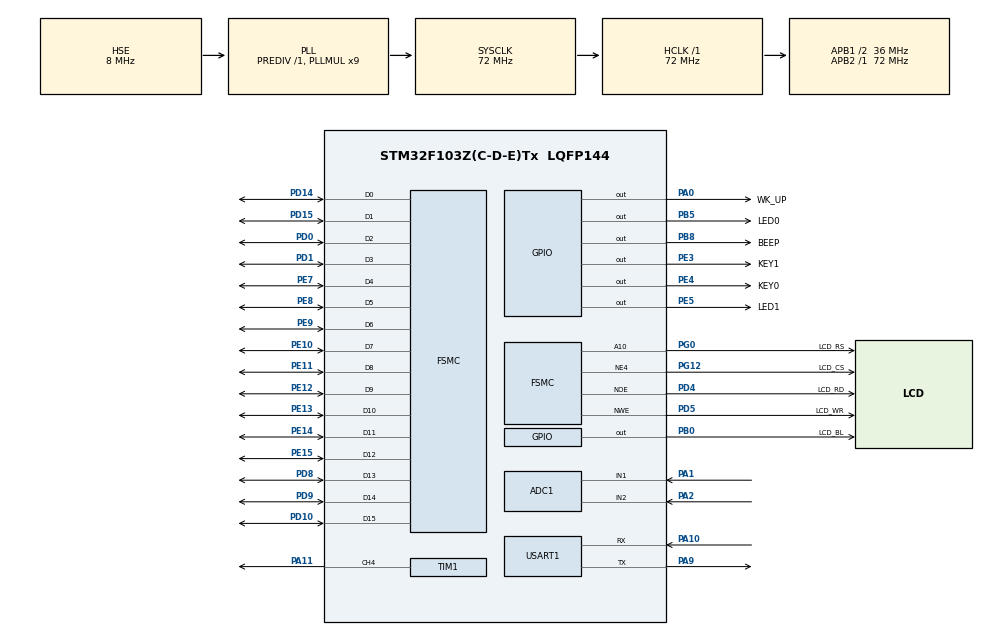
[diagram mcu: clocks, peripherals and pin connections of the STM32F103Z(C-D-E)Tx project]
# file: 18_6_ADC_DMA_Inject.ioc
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ADC1.Channel-0\#ChannelRegularConversion=ADC_CHANNEL_1
ADC1.Channel-1\#ChannelInjectedConversion=ADC_CHANNEL_2
ADC1.ContinuousConvMode=ENABLE
ADC1.EnableInjectedConversion=ENABLE
ADC1.ExternalTrigConv=ADC_SOFTWARE_START
ADC1.ExternalTrigInjecConv=ADC_EXTERNALTRIGINJECCONV_T1_CC4
ADC1.InjNumberOfConversion=1
ADC1.InjectedOffset-1\#ChannelInjectedConversion=0
ADC1.InjectedRank-1\#ChannelInjectedConversion=1
ADC1.NbrOfConversionFlag=1
ADC1.Rank-0\#ChannelRegularConversion=1
ADC1.SamplingTime-0\#ChannelRegularConversion=ADC_SAMPLETIME_239CYCLES_5
ADC1.SamplingTime-1\#ChannelInjectedConversion=ADC_SAMPLETIME_239CYCLES_5
ADC1.master=1
Dma.ADC1.0.Direction=DMA_PERIPH_TO_MEMORY
Dma.ADC1.0.Instance=DMA1_Channel1
Dma.ADC1.0.MemDataAlignment=DMA_MDATAALIGN_HALFWORD
Dma.ADC1.0.MemInc=DMA_MINC_ENABLE
Dma.ADC1.0.Mode=DMA_NORMAL
Dma.ADC1.0.PeriphDataAlignment=DMA_PDATAALIGN_HALFWORD
Dma.ADC1.0.PeriphInc=DMA_PINC_DISABLE
Dma.ADC1.0.Priority=DMA_PRIORITY_MEDIUM
Dma.Request0=ADC1
FSMC.AddressSetupTime1=0
FSMC.BusTurnAroundDuration1=15
FSMC.DataSetupTime1=15
FSMC.ExtendedAddressSetupTime1=0
FSMC.ExtendedDataSetupTime1=1
FSMC.ExtendedMode1=FSMC_EXTENDED_MODE_ENABLE
Mcu.Family=STM32F1
Mcu.Name=STM32F103Z(C-D-E)Tx
Mcu.Package=LQFP144
NVIC.ADC1_2_IRQn=true\:0\:0\:false\:false\:true\:true\:true\:true
NVIC.DMA1_Channel1_IRQn=true\:2\:1\:true\:false\:true\:false\:true\:true
NVIC.PriorityGroup=NVIC_PRIORITYGROUP_2
NVIC.USART1_IRQn=true\:2\:2\:true\:false\:true\:true\:true\:true
OSC_IN.Mode=HSE-External-Oscillator
OSC_IN.Signal=RCC_OSC_IN
OSC_OUT.Mode=HSE-External-Oscillator
OSC_OUT.Signal=RCC_OSC_OUT
PA0-WKUP.GPIO_Label=WK_UP
PA0-WKUP.GPIO_PuPd=GPIO_PULLDOWN
PA0-WKUP.GPIO_Speed=GPIO_SPEED_FREQ_HIGH
PA0-WKUP.PinState=GPIO_PIN_RESET
PA0-WKUP.Signal=GPIO_Output
PA1.Signal=ADCx_IN1
PA10.Mode=Asynchronous
PA10.Signal=USART1_RX
PA11.Signal=S_TIM1_CH4
PA13.Mode=Serial_Wire
PA13.Signal=SYS_JTMS-SWDIO
PA14.Mode=Serial_Wire
PA14.Signal=SYS_JTCK-SWCLK
PA2.Signal=ADCx_IN2
PA9.Mode=Asynchronous
PA9.Signal=USART1_TX
PB0.GPIO_Label=LCD_BL
PB0.GPIO_PuPd=GPIO_PULLUP
PB0.GPIO_Speed=GPIO_SPEED_FREQ_HIGH
PB0.PinState=GPIO_PIN_SET
PB0.Signal=GPIO_Output
PB5.GPIO_Label=LED0
PB5.GPIO_PuPd=GPIO_PULLUP
PB5.GPIO_Speed=GPIO_SPEED_FREQ_HIGH
PB5.PinState=GPIO_PIN_SET
PB5.Signal=GPIO_Output
PB8.GPIO_Label=BEEP
PB8.GPIO_ModeDefaultOutputPP=GPIO_MODE_OUTPUT_PP
PB8.GPIO_PuPd=GPIO_PULLDOWN
PB8.GPIO_Speed=GPIO_SPEED_FREQ_HIGH
PB8.PinState=GPIO_PIN_RESET
PB8.Signal=GPIO_Output
PC14-OSC32_IN.Mode=LSE-External-Oscillator
PC14-OSC32_IN.Signal=RCC_OSC32_IN
PC15-OSC32_OUT.Mode=LSE-External-Oscillator
PC15-OSC32_OUT.Signal=RCC_OSC32_OUT
PD0.Signal=FSMC_D2_DA2
PD1.Signal=FSMC_D3_DA3
PD10.Signal=FSMC_D15_DA15
PD14.Signal=FSMC_D0_DA0
PD15.Signal=FSMC_D1_DA1
PD4.GPIO_Label=LCD_RD
PD4.Signal=FSMC_NOE
PD5.GPIO_Label=LCD_WR
PD5.Signal=FSMC_NWE
PD8.Signal=FSMC_D13_DA13
PD9.Signal=FSMC_D14_DA14
PE10.Signal=FSMC_D7_DA7
PE11.Signal=FSMC_D8_DA8
PE12.Signal=FSMC_D9_DA9
PE13.Signal=FSMC_D10_DA10
PE14.Signal=FSMC_D11_DA11
PE15.Signal=FSMC_D12_DA12
PE3.GPIO_Label=KEY1
PE3.GPIO_PuPd=GPIO_PULLUP
PE3.GPIO_Speed=GPIO_SPEED_FREQ_HIGH
PE3.PinState=GPIO_PIN_SET
PE3.Signal=GPIO_Output
PE4.GPIO_Label=KEY0
PE4.GPIO_PuPd=GPIO_PULLUP
PE4.GPIO_Speed=GPIO_SPEED_FREQ_HIGH
PE4.PinState=GPIO_PIN_SET
PE4.Signal=GPIO_Output
PE5.GPIO_Label=LED1
PE5.GPIO_PuPd=GPIO_PULLUP
PE5.GPIO_Speed=GPIO_SPEED_FREQ_HIGH
PE5.PinState=GPIO_PIN_SET
PE5.Signal=GPIO_Output
PE7.Signal=FSMC_D4_DA4
PE8.Signal=FSMC_D5_DA5
PE9.Signal=FSMC_D6_DA6
PG0.GPIO_Label=LCD_RS
PG0.Signal=FSMC_A10
PG12.GPIO_Label=LCD_CS
PG12.Mode=NorPsramChipSelect4_1
PG12.Signal=FSMC_NE4
ProjectManager.HeapSize=0x200
ProjectManager.StackSize=0x400
ProjectManager.TargetToolchain=STM32CubeIDE
RCC.ADCPresc=RCC_ADCPCLK2_DIV6
RCC.AHBFreq_Value=72000000
RCC.APB1CLKDivider=RCC_HCLK_DIV2
RCC.APB1Freq_Value=36000000
RCC.APB1TimFreq_Value=72000000
RCC.APB2Freq_Value=72000000
RCC.APB2TimFreq_Value=72000000
RCC.HCLKFreq_Value=72000000
RCC.PLLMUL=RCC_PLL_MUL9
RCC.PLLSourceVirtual=RCC_PLLSOURCE_HSE
RCC.SYSCLKFreq_VALUE=72000000
RCC.SYSCLKSource=RCC_SYSCLKSOURCE_PLLCLK
RCC.USBFreq_Value=72000000
SH.ADCx_IN1.0=ADC1_IN1,IN1
SH.ADCx_IN2.0=ADC1_IN2,IN2
SH.FSMC_A10.0=FSMC_A10,A10_1
SH.FSMC_D0_DA0.0=FSMC_D0,16b-d1
SH.FSMC_D10_DA10.0=FSMC_D10,16b-d1
SH.FSMC_D11_DA11.0=FSMC_D11,16b-d1
SH.FSMC_D12_DA12.0=FSMC_D12,16b-d1
SH.FSMC_D13_DA13.0=FSMC_D13,16b-d1
SH.FSMC_D14_DA14.0=FSMC_D14,16b-d1
SH.FSMC_D15_DA15.0=FSMC_D15,16b-d1
SH.FSMC_D1_DA1.0=FSMC_D1,16b-d1
SH.FSMC_D2_DA2.0=FSMC_D2,16b-d1
SH.FSMC_D3_DA3.0=FSMC_D3,16b-d1
SH.FSMC_D4_DA4.0=FSMC_D4,16b-d1
SH.FSMC_D5_DA5.0=FSMC_D5,16b-d1
SH.FSMC_D6_DA6.0=FSMC_D6,16b-d1
SH.FSMC_D7_DA7.0=FSMC_D7,16b-d1
SH.FSMC_D8_DA8.0=FSMC_D8,16b-d1
SH.FSMC_D9_DA9.0=FSMC_D9,16b-d1
SH.FSMC_NOE.0=FSMC_NOE,Lcd1
SH.FSMC_NWE.0=FSMC_NWE,Lcd1
SH.S_TIM1_CH4.0=TIM1_CH4,PWM Generation4 CH4
TIM1.AutoReloadPreload=TIM_AUTORELOAD_PRELOAD_ENABLE
TIM1.Channel-PWM\ Generation4\ CH4=TIM_CHANNEL_4
TIM1.Period=5000 - 1
TIM1.Prescaler=7200 - 1
TIM1.Pulse-PWM\ Generation4\ CH4=2500
USART1.VirtualMode=VM_ASYNC
VP_TIM1_VS_ClockSourceINT.Mode=Internal
board=custom

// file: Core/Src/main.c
/* USER CODE BEGIN Header */

/* USER CODE END Header */
#include "main.h"
#include "adc.h"
#include "dma.h"
#include "tim.h"
#include "usart.h"
#include "gpio.h"
#include "fsmc.h"

/* USER CODE BEGIN Includes */
#include "../../BSP/LED/led.h"
#include "../../BSP/KEY/key.h"
#include "../../BSP/LCD/lcd.h"
#include "../../SYSTEM/delay/delay.h"
/* USER CODE END Includes */

void SystemClock_Config(void);
/* USER CODE BEGIN PFP */
#define ADC_DMA_BUF_SIZE        100         /* ADC DMA采集 BUF大小 */
uint16_t g_adc_dma_buf[ADC_DMA_BUF_SIZE];   /* ADC DMA BUF */
extern uint8_t g_adc_dma_sta;               /* DMA传输状态标志, 0,未完成; 1, 已完成 */
extern uint8_t g_inject_sta;
/* USER CODE END PFP */

int main(void)
{
  /* USER CODE BEGIN 1 */
    uint16_t i;
    uint16_t adcx;
    uint32_t sum;
    float temp;
    uint16_t inject_value = 0;
    float inject_v = 0;
  /* USER CODE END 1 */

  /* MCU Configuration--------------------------------------------------------*/

  /* Reset of all peripherals, Initializes the Flash interface and the Systick. */
  HAL_Init();

  /* Configure the system clock */
  SystemClock_Config();

  /* USER CODE BEGIN SysInit */
  delay_init(72);						   /* 初始化延时函数 */
  /* USER CODE END SysInit */

  /* Initialize all configured peripherals */
  MX_GPIO_Init();
  MX_DMA_Init();
  MX_FSMC_Init();
  MX_USART1_UART_Init();
  MX_ADC1_Init();
  MX_TIM1_Init();
  /* USER CODE BEGIN 2 */
  HAL_DMA_Start_IT(&hdma_adc1, (uint32_t)&ADC1->DR, (uint32_t)&g_adc_dma_buf, 0);	/* 启动DMA，并开启中断 */
  HAL_ADC_Start_DMA(&hadc1, (uint32_t*)&g_adc_dma_buf, 0);           				/* 开启ADC，通过DMA传输结果 */
  HAL_ADCEx_InjectedStart_IT(&hadc1);									/* 使能注入通道的转换和中断 */
  HAL_TIM_PWM_Start(&htim1, TIM_CHANNEL_4);								/* 开启定时器的输出，进而触发ADC转换 */

  lcd_init();                                         					/* 初始化LCD */
  lcd_show_string(30,  50, 200, 16, 16, "STM32", RED);
  lcd_show_string(30,  70, 200, 16, 16, "ADC DMA TEST", RED);
  lcd_show_string(30,  90, 200, 16, 16, "ATOM@ALIENTEK", RED);
  lcd_show_string(30, 110, 200, 16, 16, "ADC1_CH1_VAL:", BLUE);
  lcd_show_string(30, 130, 200, 16, 16, "ADC1_CH1_VOL:0.000V", BLUE); 	/* 先在固定位置显示小数点 */
  lcd_show_string(30, 160, 200, 16, 16, "ADC1_CH2_VAL:", BLUE);
  lcd_show_string(30, 180, 200, 16, 16, "ADC1_CH2_VOL:0.000V", BLUE); 	/* 先在固定位置显示小数点 */

  adc_dma_enable(ADC_DMA_BUF_SIZE);   /* 启动ADC DMA采集 */
  /* USER CODE END 2 */

  /* Infinite loop */
  /* USER CODE BEGIN WHILE */
  while (1)
  {
	  if (g_adc_dma_sta == 1)
	  {
		  /* 计算DMA 采集到的ADC数据的平均值 */
		  sum = 0;

		  for (i = 0; i < ADC_DMA_BUF_SIZE; i++)   /* 累加 */
		  {
			  sum += g_adc_dma_buf[i];
		  }

		  adcx = sum / ADC_DMA_BUF_SIZE;           /* 取平均值 */

		  /* 显示结果 */
		  lcd_show_xnum(134, 110, adcx, 4, 16, 0, BLUE);      /* 显示ADCC采样后的原始值 */

		  temp = (float)adcx * (3.3 / 4096);                  /* 获取计算后的带小数的实际电压值，比如3.1111 */
		  adcx = temp;                                        /* 赋值整数部分给adcx变量，因为adcx为u16整形 */
		  lcd_show_xnum(134, 130, adcx, 1, 16, 0, BLUE);      /* 显示电压值的整数部分，3.1111的话，这里就是显示3 */

		  temp -= adcx;                                       /* 把已经显示的整数部分去掉，留下小数部分，比如3.1111-3=0.1111 */
		  temp *= 1000;                                       /* 小数部分乘以1000，例如：0.1111就转换为111.1，相当于保留三位小数。 */
		  lcd_show_xnum(150, 130, temp, 3, 16, 0X80, BLUE);   /* 显示小数部分（前面转换为了整形显示），这里显示的就是111. */

		  g_adc_dma_sta = 0;                                  /* 清除DMA采集完成状态标志 */
		  adc_dma_enable(ADC_DMA_BUF_SIZE);                   /* 启动下一次ADC DMA采集 */
	  }
	  if(key_scan(0) == KEY0_PRES)
	  {
		  HAL_TIM_PWM_Start(&htim1, TIM_CHANNEL_4);			  /* 使能定时器输出，触发注入通道的转换 */
	  }
	  if(g_inject_sta == 1)									  /* 注入模式触发成功，定时器500ms触发一次 */
	  {
		  g_inject_sta = 0;
		  inject_value = HAL_ADCEx_InjectedGetValue(&hadc1, ADC_INJECTED_RANK_1);
		  inject_v = inject_value * 3.3/4096;
		  printf("注入通道电压值：%.2f, 原始值：%d\r\n", inject_v, inject_value);
		  /* 显示结果 */
		  lcd_show_xnum(134, 160, inject_value, 4, 16, 0, BLUE);      	/* 显示ADCC采样后的原始值 */

		  temp = (float)inject_value * (3.3 / 4096);                  	/* 获取计算后的带小数的实际电压值，比如3.1111 */
		  inject_value = temp;                                        	/* 赋值整数部分给adcx变量，因为adcx为u16整形 */
		  lcd_show_xnum(134, 180, inject_value, 1, 16, 0, BLUE);      	/* 显示电压值的整数部分，3.1111的话，这里就是显示3 */

		  temp -= inject_value;                                       	/* 把已经显示的整数部分去掉，留下小数部分，比如3.1111-3=0.1111 */
		  temp *= 1000;                                       			/* 小数部分乘以1000，例如：0.1111就转换为111.1，相当于保留三位小数。 */
		  lcd_show_xnum(150, 180, temp, 3, 16, 0X80, BLUE);   			/* 显示小数部分（前面转换为了整形显示），这里显示的就是111. */

	  }

	  LED0_TOGGLE();
	  delay_ms(10);

    /* USER CODE END WHILE */

  }
}

void SystemClock_Config(void)
{
  RCC_OscInitTypeDef RCC_OscInitStruct = {0};
  RCC_ClkInitTypeDef RCC_ClkInitStruct = {0};
  RCC_PeriphCLKInitTypeDef PeriphClkInit = {0};

  /** Initializes the RCC Oscillators according to the specified parameters
  * in the RCC_OscInitTypeDef structure.
  */
  RCC_OscInitStruct.OscillatorType = RCC_OSCILLATORTYPE_HSE;
  RCC_OscInitStruct.HSEState = RCC_HSE_ON;
  RCC_OscInitStruct.HSEPredivValue = RCC_HSE_PREDIV_DIV1;
  RCC_OscInitStruct.HSIState = RCC_HSI_ON;
  RCC_OscInitStruct.PLL.PLLState = RCC_PLL_ON;
  RCC_OscInitStruct.PLL.PLLSource = RCC_PLLSOURCE_HSE;
  RCC_OscInitStruct.PLL.PLLMUL = RCC_PLL_MUL9;
  if (HAL_RCC_OscConfig(&RCC_OscInitStruct) != HAL_OK)
  {
    Error_Handler();
  }

  /** Initializes the CPU, AHB and APB buses clocks
  */
  RCC_ClkInitStruct.ClockType = RCC_CLOCKTYPE_HCLK|RCC_CLOCKTYPE_SYSCLK
                              |RCC_CLOCKTYPE_PCLK1|RCC_CLOCKTYPE_PCLK2;
  RCC_ClkInitStruct.SYSCLKSource = RCC_SYSCLKSOURCE_PLLCLK;
  RCC_ClkInitStruct.AHBCLKDivider = RCC_SYSCLK_DIV1;
  RCC_ClkInitStruct.APB1CLKDivider = RCC_HCLK_DIV2;
  RCC_ClkInitStruct.APB2CLKDivider = RCC_HCLK_DIV1;

  if (HAL_RCC_ClockConfig(&RCC_ClkInitStruct, FLASH_LATENCY_2) != HAL_OK)
  {
    Error_Handler();
  }
  PeriphClkInit.PeriphClockSelection = RCC_PERIPHCLK_ADC;
  PeriphClkInit.AdcClockSelection = RCC_ADCPCLK2_DIV6;
  if (HAL_RCCEx_PeriphCLKConfig(&PeriphClkInit) != HAL_OK)
  {
    Error_Handler();
  }
}

void Error_Handler(void)
{
  __disable_irq();
  while (1)
  {
  }
}
